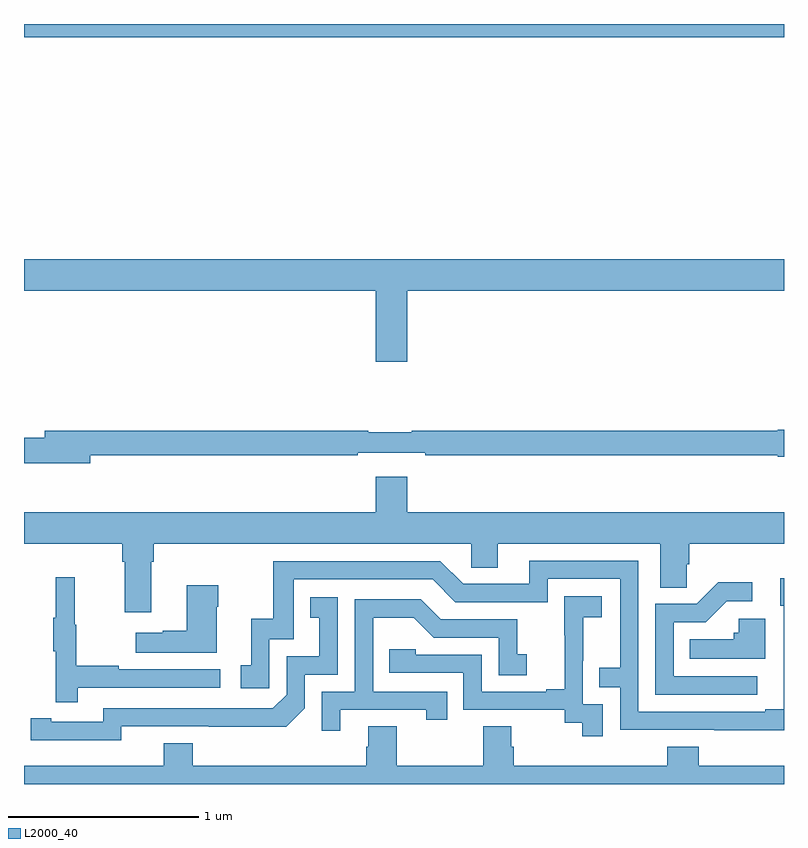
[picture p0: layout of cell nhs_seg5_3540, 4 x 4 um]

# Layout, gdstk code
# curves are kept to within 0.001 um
import gdstk
lib = gdstk.Library(unit=1e-6, precision=1e-09)
def R(c, l, rs):  # rectangles x0, y0, x1, y1
    for r in rs: c.add(gdstk.rectangle(r[:2], r[2:], *l))
def P(c, l, *ps):  # polygons
    for p in ps: c.add(gdstk.Polygon(p, *l))
L2000_40 = (2000, 40)

nhs_seg5_3540 = lib.new_cell('nhs_seg5_3540')
R(nhs_seg5_3540, L2000_40, [(319,888.728,323,888.799)])
P(nhs_seg5_3540, L2000_40, [(321.016,887.396),(323,887.396),(323,887.56),(319,887.56),(319,887.396),(320.852,887.396),(320.852,887.022),(321.016,887.022)],
  [(319.348,886.53),(320.756,886.53),(320.756,886.542),(321.112,886.542),(321.112,886.53),(322.968,886.53),(322.968,886.522),(323,886.522),(323,886.664),(322.968,886.664),(322.968,886.658),(321.041,886.658),(321.041,886.651),(320.813,886.651),(320.813,886.658),(319.109,886.658),(319.109,886.622),(319,886.622),(319,886.487),(319.348,886.487)],
  [(319.669,885.968),(319.682,885.968),(319.682,886.064),(321.354,886.064),(321.354,885.937),(321.493,885.937),(321.493,886.064),(322.349,886.064),(322.349,885.832),(322.488,885.832),(322.488,885.955),(322.502,885.955),(322.502,886.064),(323,886.064),(323,886.228),(321.016,886.228),(321.016,886.417),(320.852,886.417),(320.852,886.228),(319,886.228),(319,886.064),(319.517,886.064),(319.517,885.968),(319.529,885.968),(319.529,885.702),(319.669,885.702)],
  [(323,885.883),(322.979,885.883),(322.979,885.738),(322.998,885.738),(322.998,885.193),(322.901,885.193),(322.901,885.18),(322.233,885.18),(322.233,885.975),(321.659,885.975),(321.659,885.852),(321.312,885.852),(321.192,885.972),(320.313,885.972),(320.313,885.67),(320.195,885.67),(320.195,885.423),(320.142,885.423),(320.142,885.303),(320.292,885.303),(320.292,885.561),(320.421,885.561),(320.421,885.876),(321.15,885.876),(321.27,885.756),(321.756,885.756),(321.756,885.879),(322.137,885.879),(322.137,885.41),(322.027,885.41),(322.027,885.309),(322.137,885.309),(322.137,885.084),(323,885.083)],
  [(319.283,885.306),(320.032,885.306),(320.032,885.402),(319.499,885.402),(319.499,885.422),(319.276,885.422),(319.276,885.636),(319.268,885.636),(319.268,885.886),(319.166,885.886),(319.166,885.673),(319.155,885.673),(319.155,885.499),(319.166,885.499),(319.166,885.228),(319.283,885.228)],
  [(322.858,885.366),(322.419,885.366),(322.419,885.651),(322.588,885.651),(322.699,885.762),(322.834,885.762),(322.834,885.86),(322.655,885.86),(322.542,885.747),(322.323,885.747),(322.323,885.27),(322.858,885.27)],
  [(320.014,885.731),(320.022,885.731),(320.022,885.844),(319.856,885.844),(319.856,885.605),(319.73,885.605),(319.73,885.595),(319.587,885.595),(319.587,885.491),(320.014,885.491)],
  [(322.047,885.219),(321.942,885.219),(321.942,885.449),(321.944,885.449),(321.944,885.677),(322.042,885.677),(322.042,885.787),(321.844,885.787),(321.844,885.581),(321.845,885.581),(321.845,885.298),(321.749,885.298),(321.749,885.285),(321.408,885.285),(321.408,885.48),(321.063,885.48),(321.063,885.507),(320.923,885.507),(320.923,885.384),(321.312,885.384),(321.312,885.189),(321.846,885.189),(321.846,885.121),(321.939,885.121),(321.939,885.051),(322.047,885.051)],
  [(319.512,885.102),(320.38,885.101),(320.478,885.198),(320.478,885.375),(320.652,885.375),(320.652,885.781),(320.506,885.781),(320.506,885.675),(320.555,885.675),(320.555,885.471),(320.382,885.471),(320.382,885.27),(320.31,885.198),(319.416,885.198),(319.416,885.126),(319.144,885.126),(319.144,885.146),(319.036,885.146),(319.036,885.03),(319.512,885.029)],
  [(320.665,885.189),(321.116,885.189),(321.116,885.138),(321.227,885.138),(321.227,885.285),(320.838,885.285),(320.838,885.674),(321.052,885.674),(321.156,885.57),(321.498,885.57),(321.498,885.372),(321.646,885.372),(321.646,885.481),(321.597,885.481),(321.597,885.666),(321.193,885.666),(321.088,885.771),(320.742,885.771),(320.742,885.285),(320.568,885.285),(320.568,885.078),(320.665,885.078)],
  [(322.9,885.67),(322.761,885.67),(322.761,885.594),(322.735,885.594),(322.735,885.562),(322.504,885.562),(322.504,885.458),(322.9,885.458)],
  [(323,884.896),(322.55,884.896),(322.55,884.995),(322.385,884.995),(322.385,884.896),(321.578,884.896),(321.578,884.994),(321.565,884.994),(321.565,885.104),(321.418,885.104),(321.418,884.896),(320.961,884.896),(320.961,885.104),(320.813,885.104),(320.813,884.994),(320.801,884.994),(320.801,884.896),(319.889,884.896),(319.889,885.013),(319.736,885.013),(319.736,884.896),(319,884.896),(319,884.799),(323,884.799)])

lib.write_gds('nhs_seg5_3540.gds')
